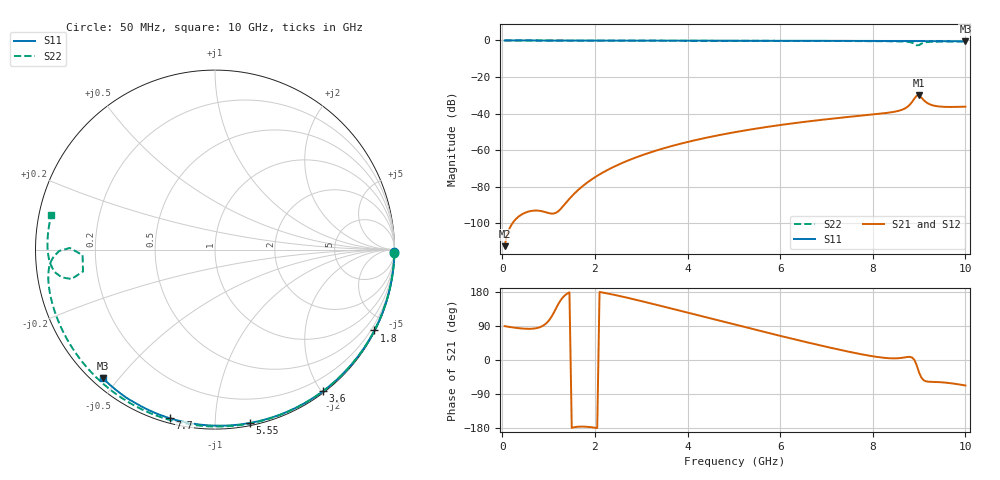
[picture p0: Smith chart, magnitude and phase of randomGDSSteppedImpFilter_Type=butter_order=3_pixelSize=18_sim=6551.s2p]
! freq	dB(S11)	phase(S11)	dB(S12)	phase(S12)
!  dB(S21)	phase(S21)	dB(S22)	phase(S22)
!S-par simulation data
#  GHz  S  DB  R 50
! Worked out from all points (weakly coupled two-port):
!   200 points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, 50 MHz to 10 GHz, reference 50 ohm
!   highest |S21| = -30.10 dB at 9 GHz (marker M1); lowest = -112.6 dB at 50 MHz (marker M2)
!   lowest |S11| = -0.4 dB at 10 GHz (marker M3), VSWR 39.47, Z = 1.53 - j22.7 ohm
!   |S11| at or under -10 dB: nowhere
!   |S22| runs from -2.6 to 0.0 dB; largest |S21 - S12| = 0
!   S11 on the Smith chart (normalised r, x): 50 MHz: open; 1.8 GHz: 0.04, -4.18; 3.6 GHz: 0.02, -2.02; 5.55 GHz: 0.02, -1.22; 7.7 GHz: 0.02, -0.77; 10 GHz: 0.03, -0.45
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0.05  -0.00 -0.8  -112.57 89.4  -112.57 89.4  -0.00 -1.2
0.85  -0.02 -12.8  -93.41 88.6  -93.41 88.6  -0.02 -19.4
1.75  -0.03 -26.2  -79.39 -175.7  -79.39 -175.7  -0.05 -39.4
1.8  -0.03 -26.9  -78.40 -176.0  -78.40 -176.0  -0.05 -40.5
2.1  -0.04 -31.3  -73.30 179.4  -73.30 179.4  -0.06 -47.0
2.5  -0.05 -37.1  -68.05 169.8  -68.05 169.8  -0.07 -55.5
3.4  -0.07 -49.8  -59.65 143.5  -59.65 143.5  -0.10 -74.0
3.6  -0.07 -52.6  -58.19 137.3  -58.19 137.3  -0.10 -78.0
5.05  -0.11 -72.1  -50.06 92.5  -50.06 92.5  -0.16 -105.7
5.55  -0.13 -78.5  -47.96 77.3  -47.96 77.3  -0.19 -114.8
6.7  -0.18 -92.9  -44.00 43.3  -44.00 43.3  -0.26 -135.3
7.7  -0.24 -104.9  -41.27 16.4  -41.27 16.4  -0.34 -153.1
8.35  -0.29 -112.4  -39.50 4.7  -39.50 4.7  -0.44 -165.5
8.7  -0.32 -116.4  -37.12 7.1  -37.12 7.1  -0.64 -174.0
8.8  -0.33 -117.6  -35.15 8.3  -35.15 8.3  -0.92 -177.6
8.9  -0.34 -118.7  -31.77 -0.0  -31.77 -0.0  -1.84 179.4
8.95  -0.34 -119.2  -30.22 -14.3  -30.22 -14.3  -2.63 -177.6
9  -0.33 -119.8  -30.10 -33.0  -30.10 -33.0  -2.55 -170.6
9.05  -0.34 -120.4  -31.27 -46.6  -31.27 -46.6  -1.77 -168.4
9.15  -0.35 -121.6  -33.76 -56.3  -33.76 -56.3  -0.96 -171.6
9.3  -0.36 -123.3  -35.55 -57.9  -35.55 -57.9  -0.67 -176.5
10  -0.44 -131.2  -36.22 -67.3  -36.22 -67.3  -0.60 168.0
